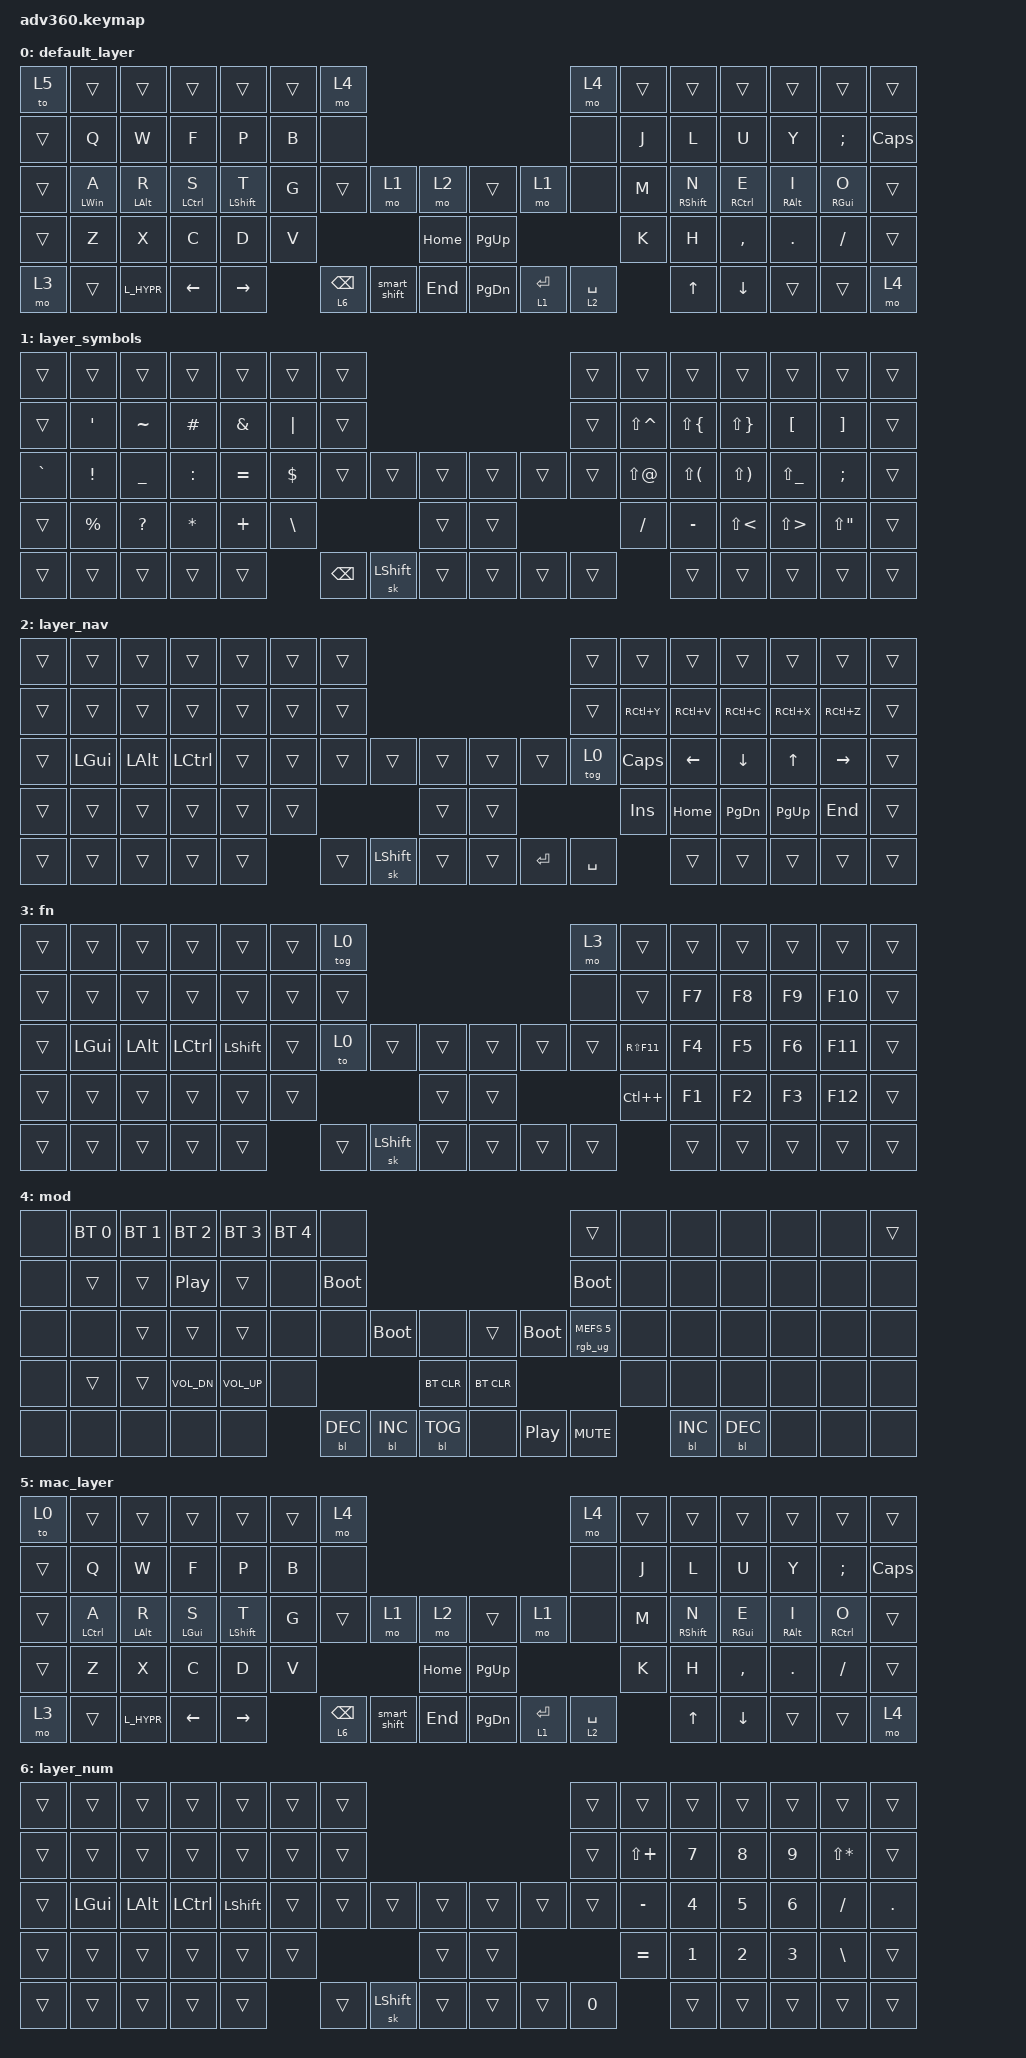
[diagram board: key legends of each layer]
#include <dt-bindings/zmk/stp.h>
#include <behaviors.dtsi>
#include <dt-bindings/zmk/backlight.h>
#include <dt-bindings/zmk/bt.h>
#include <dt-bindings/zmk/keys.h>
#include <dt-bindings/zmk/rgb.h>

/ {
    behaviors {
        #include "macros.dtsi"
      #include "version.dtsi"
      #ifndef VERSION_MACRO

        #endif

        hm: homerow_mods {
            compatible = "zmk,behavior-hold-tap";
            label = "HOMEROW_MODS";
            #binding-cells = <2>;
            tapping-term-ms = <280>;
            flavor = "balanced";
            bindings = <&kp>, <&kp>;

            require-prior-idle-ms = <150>;
            quick-tap-ms = <175>;
            hold-trigger-key-positions = <29 30 31 32 41 42 43 44 15 16 63 64 24>;
            hold-trigger-on-release;
        };

        smart_shift: smart_shift {
            compatible = "zmk,behavior-mod-morph";
            label = "SMART_SHIFT";
            bindings = <&sk LEFT_SHIFT>, <&caps_word>;

            #binding-cells = <0>;
            mods = <(MOD_LSFT)>;
        };

        smart_backspace: smart_backspace {
            compatible = "zmk,behavior-hold-tap";
            label = "SMART_BACKSPACE";
            bindings = <&mo>, <&kp>;

            #binding-cells = <2>;
            quick-tap-ms = <175>;
            tapping-term-ms = <280>;
            hold-trigger-key-positions = <65>;
            flavor = "balanced";
            require-prior-idle-ms = <150>;
            hold-trigger-on-release;
        };

        num_word: num_word {
            #binding-cells = <0>;
            compatible = "zmk,behavior-num-word";
            continue-list = <BSPC DEL DOT COMMA PLUS MINUS STAR FSLH EQUAL>;
            ignore-numbers;
        };
    };

    macros {
        vim_write: vim_write {
            compatible = "zmk,behavior-macro";
            #binding-cells = <0>;
            bindings = <&kp COLON &kp W &kp ENTER>;
            label = "VIM_WRITE";
        };

        vim_quit: vim_quit {
            compatible = "zmk,behavior-macro";
            #binding-cells = <0>;
            bindings = <&kp COLON &kp Q &kp EXCL &kp ENTER>;
            label = "VIM_QUIT";
        };

        select_line: select_line {
            compatible = "zmk,behavior-macro";
            #binding-cells = <0>;
            bindings =
                <&kp HOME>,
                <&macro_press>,
                <&kp LEFT_SHIFT>,
                <&macro_tap>,
                <&kp END>,
                <&macro_release>,
                <&kp LEFT_SHIFT>;

            label = "SELECT_LINE";
        };

        L_HYPR: L_HYPR {
            compatible = "zmk,behavior-macro";
            #binding-cells = <0>;
            bindings = <&kp LC(LS(LA(LEFT_GUI)))>;
            label = "L_HYPR";
        };
    };

    combos {
        compatible = "zmk,combos";

        esc_homerow {
            bindings = <&kp ESC>;
            key-positions = <17 18>;
        };

        tab_homerow {
            bindings = <&kp TAB>;
            key-positions = <23 24>;
        };

        combo_vimwrite {
            bindings = <&vim_write>;
            key-positions = <50 51>;
        };

        combo_vimquit {
            bindings = <&vim_quit>;
            key-positions = <54 55>;
        };

        move_workspace_left {
            bindings = <&kp LG(LC(LEFT_ARROW))>;
            key-positions = <33 32>;
        };

        move_workspace_right {
            bindings = <&kp RG(RC(RIGHT_ARROW))>;
            key-positions = <41 40>;
        };

        select_line {
            bindings = <&select_line>;
            key-positions = <47 48>;
        };

        hyphen {
            bindings = <&kp MINUS>;
            key-positions = <57 58>;
        };
    };

    keymap {
        compatible = "zmk,keymap";

        default_layer {
            bindings = <
&to 5   &trans          &trans          &trans              &trans            &trans  &mo 4                                                                             &mo 4        &trans  &trans             &trans               &trans           &trans           &trans
&trans  &kp Q           &kp W           &kp F               &kp P             &kp B   &none                                                                             &none        &kp J   &kp L              &kp U                &kp Y            &kp SEMICOLON    &kp CAPSLOCK
&trans  &hm LEFT_WIN A  &hm LEFT_ALT R  &hm LEFT_CONTROL S  &hm LEFT_SHIFT T  &kp G   &trans                        &mo 1         &mo 2         &trans     &mo 1        &none        &kp M   &hm RIGHT_SHIFT N  &hm RIGHT_CONTROL E  &hm RIGHT_ALT I  &hm RIGHT_GUI O  &trans
&trans  &kp Z           &kp X           &kp C               &kp D             &kp V                                               &kp HOME      &kp PG_UP                            &kp K   &kp H              &kp COMMA            &kp DOT          &kp SLASH        &trans
&mo 3   &trans          &L_HYPR         &kp LEFT_ARROW      &kp RIGHT                 &smart_backspace 6 BACKSPACE  &smart_shift  &kp END       &kp PG_DN  &lt 1 ENTER  &lt 2 SPACE          &kp UP_ARROW       &kp DOWN             &trans           &trans           &mo 4
            >;
        };

        layer_symbols {
            bindings = <
&trans     &trans           &trans          &trans        &trans         &trans         &trans                                                     &trans  &trans         &trans        &trans        &trans         &trans       &trans
&trans     &kp SQT          &kp TILDE       &kp HASH      &kp AMPERSAND  &kp PIPE       &trans                                                     &trans  &kp LS(CARET)  &kp LS(LBRC)  &kp LS(RBRC)  &kp LBKT       &kp RBKT     &trans
&kp GRAVE  &kp EXCLAMATION  &kp UNDERSCORE  &kp COLON     &kp EQUAL      &kp DOLLAR     &trans         &trans          &trans      &trans  &trans  &trans  &kp LS(AT)     &kp LS(LPAR)  &kp LS(RPAR)  &kp LS(UNDER)  &kp SEMI     &trans
&trans     &kp PERCENT      &kp QUESTION    &kp ASTERISK  &kp PLUS       &kp BACKSLASH                                 &trans      &trans                  &kp FSLH       &kp MINUS     &kp LS(LT)    &kp LS(GT)     &kp LS(DQT)  &trans
&trans     &trans           &trans          &trans        &trans                        &kp BACKSPACE  &sk LEFT_SHIFT  &trans      &trans  &trans  &trans                 &trans        &trans        &trans         &trans       &trans
            >;
        };

        layer_nav {
            bindings = <
&trans  &trans    &trans    &trans     &trans  &trans  &trans                                                 &trans     &trans     &trans     &trans     &trans        &trans     &trans
&trans  &trans    &trans    &trans     &trans  &trans  &trans                                                 &trans     &kp RC(Y)  &kp RC(V)  &kp RC(C)  &kp RC(X)     &kp RC(Z)  &trans
&trans  &kp LGUI  &kp LALT  &kp LCTRL  &trans  &trans  &trans  &trans          &trans      &trans  &trans     &tog 0     &kp CAPS   &kp LEFT   &kp DOWN   &kp UP_ARROW  &kp RIGHT  &trans
&trans  &trans    &trans    &trans     &trans  &trans                          &trans      &trans                        &kp INS    &kp HOME   &kp PG_DN  &kp PG_UP     &kp END    &trans
&trans  &trans    &trans    &trans     &trans          &trans  &sk LEFT_SHIFT  &trans      &trans  &kp ENTER  &kp SPACE             &trans     &trans     &trans        &trans     &trans
            >;
        };

        fn {
            bindings = <
&trans  &trans    &trans    &trans     &trans     &trans  &tog 0                                              &mo 3   &trans        &trans  &trans  &trans  &trans   &trans
&trans  &trans    &trans    &trans     &trans     &trans  &trans                                              &none   &trans        &kp F7  &kp F8  &kp F9  &kp F10  &trans
&trans  &kp LGUI  &kp LALT  &kp LCTRL  &kp LSHFT  &trans  &to 0   &trans          &trans      &trans  &trans  &trans  &kp RS(F11)   &kp F4  &kp F5  &kp F6  &kp F11  &trans
&trans  &trans    &trans    &trans     &trans     &trans                          &trans      &trans                  &kp LC(PLUS)  &kp F1  &kp F2  &kp F3  &kp F12  &trans
&trans  &trans    &trans    &trans     &trans             &trans  &sk LEFT_SHIFT  &trans      &trans  &trans  &trans                &trans  &trans  &trans  &trans   &trans
            >;
        };

        mod {
            bindings = <
&none  &bt BT_SEL 0  &bt BT_SEL 1  &bt BT_SEL 2  &bt BT_SEL 3     &bt BT_SEL 4  &none                                                              &trans                  &none  &none       &none       &none  &none  &trans
&none  &trans        &trans        &kp C_PP      &trans           &none         &bootloader                                                        &bootloader             &none  &none       &none       &none  &none  &none
&none  &none         &trans        &trans        &trans           &none         &none        &bootloader  &none           &trans      &bootloader  &rgb_ug RGB_MEFS_CMD 5  &none  &none       &none       &none  &none  &none
&none  &trans        &trans        &kp C_VOL_DN  &kp C_VOLUME_UP  &none                                   &bt BT_CLR      &bt BT_CLR                                       &none  &none       &none       &none  &none  &none
&none  &none         &none         &none         &none                          &bl BL_DEC   &bl BL_INC   &bl BL_TOG      &none       &kp C_PP     &kp C_MUTE                     &bl BL_INC  &bl BL_DEC  &none  &none  &none
            >;
        };

        mac_layer {
            bindings = <
&to 0   &trans              &trans          &trans          &trans            &trans  &mo 4                                                                             &mo 4        &trans  &trans             &trans           &trans           &trans               &trans
&trans  &kp Q               &kp W           &kp F           &kp P             &kp B   &none                                                                             &none        &kp J   &kp L              &kp U            &kp Y            &kp SEMICOLON        &kp CAPSLOCK
&trans  &hm LEFT_CONTROL A  &hm LEFT_ALT R  &hm LEFT_GUI S  &hm LEFT_SHIFT T  &kp G   &trans                        &mo 1         &mo 2         &trans     &mo 1        &none        &kp M   &hm RIGHT_SHIFT N  &hm RIGHT_GUI E  &hm RIGHT_ALT I  &hm RIGHT_CONTROL O  &trans
&trans  &kp Z               &kp X           &kp C           &kp D             &kp V                                               &kp HOME      &kp PG_UP                            &kp K   &kp H              &kp COMMA        &kp DOT          &kp SLASH            &trans
&mo 3   &trans              &L_HYPR         &kp LEFT_ARROW  &kp RIGHT                 &smart_backspace 6 BACKSPACE  &smart_shift  &kp END       &kp PG_DN  &lt 1 ENTER  &lt 2 SPACE          &kp UP_ARROW       &kp DOWN         &trans           &trans               &mo 4
            >;
        };

        layer_num {
            bindings = <
&trans  &trans    &trans    &trans     &trans     &trans  &trans                                              &trans        &trans        &trans  &trans  &trans  &trans        &trans
&trans  &trans    &trans    &trans     &trans     &trans  &trans                                              &trans        &kp LS(PLUS)  &kp N7  &kp N8  &kp N9  &kp LS(STAR)  &trans
&trans  &kp LGUI  &kp LALT  &kp LCTRL  &kp LSHFT  &trans  &trans  &trans          &trans      &trans  &trans  &trans        &kp MINUS     &kp N4  &kp N5  &kp N6  &kp FSLH      &kp PERIOD
&trans  &trans    &trans    &trans     &trans     &trans                          &trans      &trans                        &kp EQUAL     &kp N1  &kp N2  &kp N3  &kp BSLH      &trans
&trans  &trans    &trans    &trans     &trans             &trans  &sk LEFT_SHIFT  &trans      &trans  &trans  &kp NUMBER_0                &trans  &trans  &trans  &trans        &trans
            >;
        };

        extra1 {
            display-name = "Red";
            status = "reserved";
        };

        extra2 {
            display-name = "Purple";
            status = "reserved";
        };

        extra3 {
            display-name = "Cyan";
            status = "reserved";
        };

        extra4 {
            display-name = "Yellow";
            status = "reserved";
        };
    };
};
